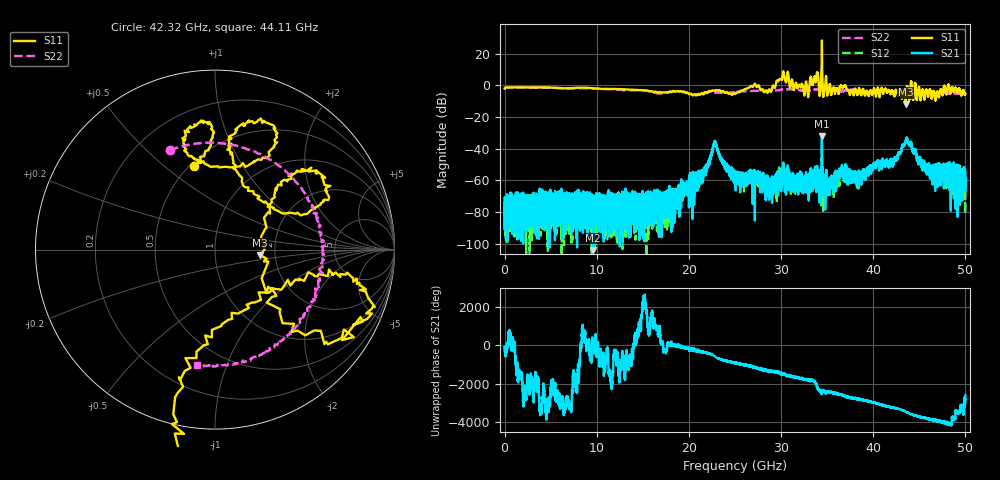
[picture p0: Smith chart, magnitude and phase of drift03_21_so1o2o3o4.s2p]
!Created with skrf (http://scikit-rf.org).
# Hz S RI R 50.0
!freq ReS11 ImS11 ReS21 ImS21 ReS12 ImS12 ReS22 ImS22
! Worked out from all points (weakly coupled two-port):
!   10000 points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, 5.3 MHz to 50 GHz, reference 50 ohm
!   highest |S21| = -32.19 dB at 34.43 GHz (marker M1); lowest = -104.1 dB at 9.62 GHz (marker M2)
!   lowest |S11| = -11.9 dB at 43.53 GHz (marker M3), VSWR 1.68, Z = 83.4 - j5.46 ohm
!   |S11| at or under -10 dB: 43.49265 GHz to 43.55586 GHz (63.21 MHz wide, 0.145 % of centre)
!   |S22| runs from -5.9 to -1.3 dB; largest |S21 - S12| = 0.013
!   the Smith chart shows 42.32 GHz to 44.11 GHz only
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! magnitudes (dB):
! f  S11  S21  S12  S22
! 5.3 MHz  -2.1  -76.8  -81.1  -2.1
! 8.34 GHz  -1.5  -83.1  -77.9  -1.9
! 9.62 GHz  -2.0  -104.1  -80.2  -2.1
! 16.67 GHz  -4.4  -70.2  -76.2  -5.2
! 21.01 GHz  -5.6  -55.3  -62.8  -5.6
! 21.96 GHz  -4.9  -52.1  -53.0  -4.4
! 22.81 GHz  -3.4  -35.2  -35.4  -4.4
! 25.01 GHz  -5.5  -56.9  -56.1  -4.3
! 27.02 GHz  -0.4  -62.6  -57.9  -3.5
! 28.83 GHz  -3.4  -64.8  -61.9  -3.5
! 30.14 GHz  4.4  -59.4  -59.0  -2.8
! 32.74 GHz  2.0  -58.5  -60.9  -3.4
! 33.34 GHz  2.6  -57.7  -57.7  -2.9
! 33.82 GHz  3.9  -64.1  -60.0  -2.5
! 34.43 GHz  28.3  -32.2  -36.7  -2.3
! 35.32 GHz  0.7  -63.0  -62.4  -2.7
! 36.82 GHz  -0.7  -58.7  -56.3  -3.5
! 38.48 GHz  -1.7  -56.1  -56.5  -3.1
! 41.67 GHz  -3.2  -50.6  -50.4  -3.8
! 43.53 GHz  -11.9  -35.5  -35.3  -4.2
! 46.22 GHz  -3.6  -53.6  -55.9  -5.5
! 50 GHz  -5.3  -61.9  -59.7  -5.0
